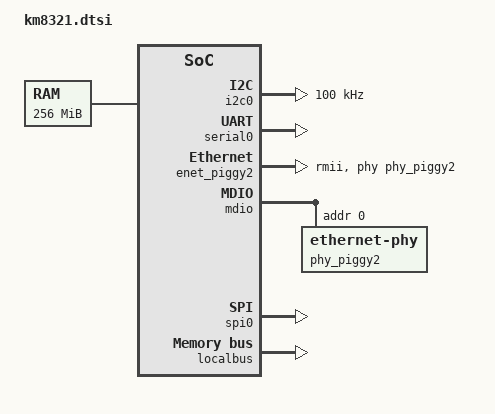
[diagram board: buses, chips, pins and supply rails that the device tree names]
// SPDX-License-Identifier: GPL-2.0+
/*
 * Hitachi Power Grids km8321 common ports Device Tree Source
 *
 * Copyright (C) 2020 Heiko Schocher <hs@denx.de>
 *
 */

/dts-v1/;

/ {
	cpus {
		#address-cells = <1>;
		#size-cells = <0>;

		PowerPC,8321@0 {
			device_type = "cpu";
			reg = <0x0>;
			d-cache-line-size = <32>;	// 32 bytes
			i-cache-line-size = <32>;	// 32 bytes
			d-cache-size = <16384>;		// L1, 16K
			i-cache-size = <16384>;		// L1, 16K
			timebase-frequency = <66000000>;
			bus-frequency = <264000000>;
			clock-frequency = <528000000>;
		};
	};

	memory {
		device_type = "memory";
		reg = <0x00000000 0x10000000>;
	};

	soc: soc8321@e0000000 {
		#address-cells = <1>;
		#size-cells = <1>;
		device_type = "soc";
		compatible = "simple-bus";
		ranges = <0x0 0xe0000000 0x00100000>;
		reg = <0xe0000000 0x00000200>;
		bus-frequency = <264000000>;

		i2c0: i2c@3000 {
			#address-cells = <1>;
			#size-cells = <0>;
			cell-index = <0>;
			compatible = "fsl,mpc8313-i2c","fsl-i2c";
			reg = <0x3000 0x100>;
			interrupts = <14 0x8>;
			interrupt-parent = <&ipic>;
			clock-frequency = <100000>;
		};

		serial0: serial@4500 {
			cell-index = <0>;
			device_type = "serial";
			compatible = "fsl,ns16550", "ns16550";
			reg = <0x4500 0x100>;
			clock-frequency = <264000000>;
			interrupts = <9 0x8>;
			interrupt-parent = <&ipic>;
		};

		dma@82a8 {
			#address-cells = <1>;
			#size-cells = <1>;
			compatible = "fsl,mpc8321-dma", "fsl,elo-dma";
			reg = <0x82a8 4>;
			ranges = <0 0x8100 0x1a8>;
			interrupt-parent = <&ipic>;
			interrupts = <71 8>;
			cell-index = <0>;
			dma-channel@0 {
				compatible = "fsl,mpc8321-dma-channel",
					     "fsl,elo-dma-channel";
				reg = <0 0x80>;
				interrupt-parent = <&ipic>;
				interrupts = <71 8>;
			};
			dma-channel@80 {
				compatible = "fsl,mpc8321-dma-channel",
					     "fsl,elo-dma-channel";
				reg = <0x80 0x80>;
				interrupt-parent = <&ipic>;
				interrupts = <71 8>;
			};
			dma-channel@100 {
				compatible = "fsl,mpc8321-dma-channel",
					     "fsl,elo-dma-channel";
				reg = <0x100 0x80>;
				interrupt-parent = <&ipic>;
				interrupts = <71 8>;
			};
			dma-channel@180 {
				compatible = "fsl,mpc8321-dma-channel",
					     "fsl,elo-dma-channel";
				reg = <0x180 0x28>;
				interrupt-parent = <&ipic>;
				interrupts = <71 8>;
			};
		};

		ipic: pic@700 {
			#address-cells = <0>;
			#interrupt-cells = <2>;
			compatible = "fsl,pq2pro-pic", "fsl,ipic";
			interrupt-controller;
			reg = <0x700 0x100>;
			device_type = "ipic";
		};

		par_io: par_io@1400 {
			#address-cells = <1>;
			#size-cells = <1>;
			reg = <0x1400 0x100>;
			ranges;
			device_type = "par_io";
			num-ports = <7>;

			qe_pio_d: gpio-controller@48 {
				#gpio-cells = <2>;
				compatible = "fsl,mpc8360-qe-pario-bank",
					     "fsl,mpc8323-qe-pario-bank";
				reg = <0x1448 0x18>;
				gpio-controller;
			};
		};
	};

	qe: qe@e0100000 {
		#address-cells = <1>;
		#size-cells = <1>;
		device_type = "qe";
		compatible = "fsl,qe";
		ranges = <0x0 0xe0100000 0x00100000>;
		reg = <0xe0100000 0x480>;
		brg-frequency = <0>;
		bus-frequency = <396000000>;

		muram@10000 {
			#address-cells = <1>;
			#size-cells = <1>;
			compatible = "fsl,qe-muram", "fsl,cpm-muram";
			ranges = <0x0 0x00010000 0x00004000>;

			data-only@0 {
				compatible = "fsl,qe-muram-data",
					     "fsl,cpm-muram-data";
				reg = <0x0 0x4000>;
			};
		};

		/* Piggy2 (UCC4, MDIO 0x00, RMII) */
		enet_piggy2: ucc@3200 {
			device_type = "network";
			compatible = "ucc_geth";
			cell-index = <4>;
			reg = <0x3200 0x200>;
			interrupts = <35>;
			interrupt-parent = <&qeic>;
			local-mac-address = [ 00 00 00 00 00 00 ];
			rx-clock-name = "none";
			tx-clock-name = "clk17";
			phy-handle = <&phy_piggy2>;
			phy-connection-type = "rmii";
			pio-handle = <&pio_ucc4>;
		};

		mdio: mdio@3320 {
			#address-cells = <1>;
			#size-cells = <0>;
			reg = <0x3320 0x18>;
			compatible = "fsl,ucc-mdio";

			/* Piggy2 (UCC4, MDIO 0x00, RMII) */
			phy_piggy2: ethernet-phy@00 {
				reg = <0x0>;
				device_type = "ethernet-phy";
			};
		};

		qeic: interrupt-controller@80 {
			interrupt-controller;
			compatible = "fsl,qe-ic";
			#address-cells = <0>;
			#interrupt-cells = <1>;
			reg = <0x80 0x80>;
			big-endian;
			interrupts = <32 8 33 8>;
			interrupt-parent = <&ipic>;
		};
		bootcount@0x13ff8 {
			device_type = "bootcount";
			compatible = "u-boot,bootcount";
			reg = <0x13ff8 0x08>;
		};

		spi0: spi@4c0 {
			cell-index = <0>;
			compatible = "fsl,spi";
			reg = <0x4c0 0x40>;
			interrupts = <2>;
			interrupt-parent = <&qeic>;
			mode = "qe";
			#address-cells = <1>;
			#size-cells = <0>;
			pio-handle = <&pio_spi>;
		};
	};

	localbus: localbus@e0005000 {
		#address-cells = <2>;
		#size-cells = <1>;
		compatible = "fsl,mpc8321-localbus", "fsl,pq2pro-localbus",
			     "simple-bus";
		reg = <0xe0005000 0xd8>;
	};
};

#include "km8321-uboot.dtsi"
